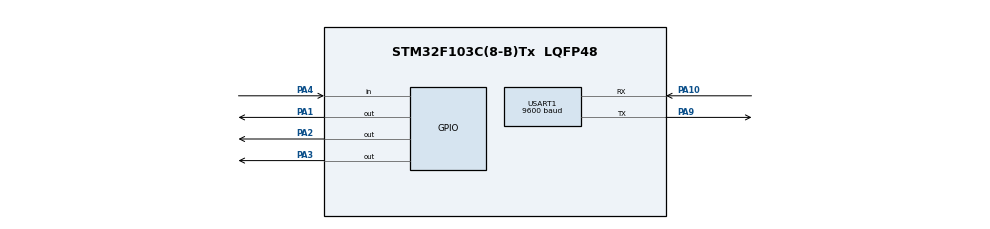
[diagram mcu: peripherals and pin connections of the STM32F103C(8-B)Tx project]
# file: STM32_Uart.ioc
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Mcu.Family=STM32F1
Mcu.Name=STM32F103C(8-B)Tx
Mcu.Package=LQFP48
NVIC.PriorityGroup=NVIC_PRIORITYGROUP_4
NVIC.USART1_IRQn=true\:0\:0\:false\:false\:true\:true
PA1.Signal=GPIO_Output
PA10.Mode=Asynchronous
PA10.Signal=USART1_RX
PA13.Mode=Serial_Wire
PA13.Signal=SYS_JTMS-SWDIO
PA14.Mode=Serial_Wire
PA14.Signal=SYS_JTCK-SWCLK
PA2.Signal=GPIO_Output
PA3.Signal=GPIO_Output
PA4.GPIO_PuPd=GPIO_PULLUP
PA4.Signal=GPIO_Input
PA9.Mode=Asynchronous
PA9.Signal=USART1_TX
ProjectManager.HeapSize=0x200
ProjectManager.StackSize=0x400
ProjectManager.TargetToolchain=MDK-ARM V5
RCC.APB1Freq_Value=8000000
RCC.APB2Freq_Value=8000000
USART1.BaudRate=9600
USART1.VirtualMode=VM_ASYNC
board=custom

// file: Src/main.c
/* USER CODE BEGIN Header */
/**
  ******************************************************************************
  * @file           : main.c
  * @brief          : Main program body
  ******************************************************************************
  ** This notice applies to any and all portions of this file
  * that are not between comment pairs USER CODE BEGIN and
  * USER CODE END. Other portions of this file, whether
  * inserted by the user or by software development tools
  * are owned by their respective copyright owners.
  *
  * COPYRIGHT(c) 2019 STMicroelectronics
  *
  * Redistribution and use in source and binary forms, with or without modification,
  * are permitted provided that the following conditions are met:
  *   1. Redistributions of source code must retain the above copyright notice,
  *      this list of conditions and the following disclaimer.
  *   2. Redistributions in binary form must reproduce the above copyright notice,
  *      this list of conditions and the following disclaimer in the documentation
  *      and/or other materials provided with the distribution.
  *   3. Neither the name of STMicroelectronics nor the names of its contributors
  *      may be used to endorse or promote products derived from this software
  *      without specific prior written permission.
  *
  * THIS SOFTWARE IS PROVIDED BY THE COPYRIGHT HOLDERS AND CONTRIBUTORS "AS IS"
  * AND ANY EXPRESS OR IMPLIED WARRANTIES, INCLUDING, BUT NOT LIMITED TO, THE
  * IMPLIED WARRANTIES OF MERCHANTABILITY AND FITNESS FOR A PARTICULAR PURPOSE ARE
  * DISCLAIMED. IN NO EVENT SHALL THE COPYRIGHT HOLDER OR CONTRIBUTORS BE LIABLE
  * FOR ANY DIRECT, INDIRECT, INCIDENTAL, SPECIAL, EXEMPLARY, OR CONSEQUENTIAL
  * DAMAGES (INCLUDING, BUT NOT LIMITED TO, PROCUREMENT OF SUBSTITUTE GOODS OR
  * SERVICES; LOSS OF USE, DATA, OR PROFITS; OR BUSINESS INTERRUPTION) HOWEVER
  * CAUSED AND ON ANY THEORY OF LIABILITY, WHETHER IN CONTRACT, STRICT LIABILITY,
  * OR TORT (INCLUDING NEGLIGENCE OR OTHERWISE) ARISING IN ANY WAY OUT OF THE USE
  * OF THIS SOFTWARE, EVEN IF ADVISED OF THE POSSIBILITY OF SUCH DAMAGE.
  *
  ******************************************************************************
  */
/* USER CODE END Header */

#include "main.h"

UART_HandleTypeDef huart1;

/* USER CODE BEGIN PV *//****************************************************************************PV**************/
const uint8_t UART_Rec_DateBufSize = 20;
uint8_t UART_Rec_Date;
uint8_t UART_Tran_Date = 0;

uint8_t UART_Rec_DateBuf[UART_Rec_DateBufSize];
uint8_t UART_Rec_DateBuf1[UART_Rec_DateBufSize]=  {0,1,2,3,4,5,6,7,8,9,};
char UART_Tran_DateBuf1[UART_Rec_DateBufSize]="FUCK_YOU_LOVE\r\n";

uint8_t Rx_Cnt = 0;
uint8_t	AlarmStr[] = "数据长度大!UART_Rec_DateBufSize\r\n";

/* USER CODE END PV */

void SystemClock_Config(void);
static void MX_GPIO_Init(void);
static void MX_USART1_UART_Init(void);

int main(void)
{

  /* MCU Configuration--------------------------------------------------------*/

  /* Reset of all peripherals, Initializes the Flash interface and the Systick. */
  HAL_Init();

  /* Configure the system clock */
  SystemClock_Config();

  /* Initialize all configured peripherals */
  MX_GPIO_Init();
  MX_USART1_UART_Init();
  /* USER CODE BEGIN 2 */
		HAL_GPIO_WritePin(GPIOA, GPIO_PIN_1|GPIO_PIN_2|GPIO_PIN_3, GPIO_PIN_SET);

	HAL_UART_Receive_IT(&huart1, &UART_Rec_Date, 1);/*************接受****************/
	HAL_UART_Transmit_IT(&huart1, &UART_Tran_Date, 1);/******发送**/

//HAL_UART_Transmit(&huart1, UART_Rec_DateBuf1, (uint16_t)UART_Rec_DateBufSize, 1000);

  /* USER CODE END 2 */

  /* Infinite loop */
  while (1)
  {
if(GPIO_PIN_RESET == HAL_GPIO_ReadPin(GPIOA, GPIO_PIN_4)  )
	{
			HAL_Delay(500);
		if(GPIO_PIN_SET == HAL_GPIO_ReadPin(GPIOA, GPIO_PIN_4)  ){
			HAL_Delay(100);

	HAL_UART_Transmit(&huart1,(uint8_t*) UART_Tran_DateBuf1, sizeof(UART_Tran_DateBuf1), 100);

		}

	}

  }
}

void SystemClock_Config(void)
{
  RCC_OscInitTypeDef RCC_OscInitStruct = {0};
  RCC_ClkInitTypeDef RCC_ClkInitStruct = {0};

  /**Initializes the CPU, AHB and APB busses clocks
  */
  RCC_OscInitStruct.OscillatorType = RCC_OSCILLATORTYPE_HSI;
  RCC_OscInitStruct.HSIState = RCC_HSI_ON;
  RCC_OscInitStruct.HSICalibrationValue = RCC_HSICALIBRATION_DEFAULT;
  RCC_OscInitStruct.PLL.PLLState = RCC_PLL_NONE;
  if (HAL_RCC_OscConfig(&RCC_OscInitStruct) != HAL_OK)
  {
    Error_Handler();
  }
  /**Initializes the CPU, AHB and APB busses clocks
  */
  RCC_ClkInitStruct.ClockType = RCC_CLOCKTYPE_HCLK|RCC_CLOCKTYPE_SYSCLK
                              |RCC_CLOCKTYPE_PCLK1|RCC_CLOCKTYPE_PCLK2;
  RCC_ClkInitStruct.SYSCLKSource = RCC_SYSCLKSOURCE_HSI;
  RCC_ClkInitStruct.AHBCLKDivider = RCC_SYSCLK_DIV1;
  RCC_ClkInitStruct.APB1CLKDivider = RCC_HCLK_DIV1;
  RCC_ClkInitStruct.APB2CLKDivider = RCC_HCLK_DIV1;

  if (HAL_RCC_ClockConfig(&RCC_ClkInitStruct, FLASH_LATENCY_0) != HAL_OK)
  {
    Error_Handler();
  }
}

static void MX_USART1_UART_Init(void)
{

  huart1.Instance = USART1;
  huart1.Init.BaudRate = 9600;
  huart1.Init.WordLength = UART_WORDLENGTH_8B;
  huart1.Init.StopBits = UART_STOPBITS_1;
  huart1.Init.Parity = UART_PARITY_NONE;
  huart1.Init.Mode = UART_MODE_TX_RX;
  huart1.Init.HwFlowCtl = UART_HWCONTROL_NONE;
  huart1.Init.OverSampling = UART_OVERSAMPLING_16;
  if (HAL_UART_Init(&huart1) != HAL_OK)
  {
    Error_Handler();
  }

}

static void MX_GPIO_Init(void)
{
  GPIO_InitTypeDef GPIO_InitStruct = {0};

  /* GPIO Ports Clock Enable */
  __HAL_RCC_GPIOA_CLK_ENABLE();

  /*Configure GPIO pin Output Level */
  HAL_GPIO_WritePin(GPIOA, GPIO_PIN_1|GPIO_PIN_2|GPIO_PIN_3, GPIO_PIN_RESET);

  /*Configure GPIO pins : PA1 PA2 PA3 */
  GPIO_InitStruct.Pin = GPIO_PIN_1|GPIO_PIN_2|GPIO_PIN_3;
  GPIO_InitStruct.Mode = GPIO_MODE_OUTPUT_PP;
  GPIO_InitStruct.Pull = GPIO_NOPULL;
  GPIO_InitStruct.Speed = GPIO_SPEED_FREQ_LOW;
  HAL_GPIO_Init(GPIOA, &GPIO_InitStruct);

  /*Configure GPIO pin : PA4 */
  GPIO_InitStruct.Pin = GPIO_PIN_4;
  GPIO_InitStruct.Mode = GPIO_MODE_INPUT;
  GPIO_InitStruct.Pull = GPIO_PULLUP;
  HAL_GPIO_Init(GPIOA, &GPIO_InitStruct);

}

/* USER CODE BEGIN 4 */
  void HAL_UART_RxCpltCallback(UART_HandleTypeDef *huart) //******************************************接受中断回调函数*******//
{
	int i_urat;
			HAL_GPIO_TogglePin(GPIOA, GPIO_PIN_1);

//		HAL_UART_Transmit(&huart1, UART_Rec_DateBuf1, (uint16_t)UART_Rec_DateBufSize, 1000);//test
	if(huart->Instance== USART1)//*串口1*//
	{
						if(Rx_Cnt>=UART_Rec_DateBufSize)/*缓冲区满就发送*/
						{
							 Rx_Cnt = 0;
							for( i_urat=0;i_urat<UART_Rec_DateBufSize;i_urat++)
							{
							UART_Rec_DateBuf[i_urat] = 0;
							}

							HAL_UART_Transmit(&huart1, AlarmStr, sizeof(AlarmStr), 1000);
						}else{

									UART_Rec_DateBuf[Rx_Cnt++]	= UART_Rec_Date;

										if(  UART_Rec_DateBuf[Rx_Cnt-1]==0x0A && UART_Rec_DateBuf[Rx_Cnt-2]==0x0D)
										{
											Rx_Cnt = 0;

											HAL_UART_Transmit(&huart1, UART_Rec_DateBuf, sizeof(UART_Rec_DateBuf), 10);

											for( i_urat=0;i_urat<UART_Rec_DateBufSize;i_urat++)
											{
											UART_Rec_DateBuf[i_urat] = 0;
											}

										}
					}

	}
	HAL_UART_Receive_IT(&huart1, &UART_Rec_Date, 1);/*重新使能串口1*/

}

  void HAL_UART_TxCpltCallback(UART_HandleTypeDef *huart)//***********************发送*********中断回调函数*******//
{

	HAL_GPIO_TogglePin(GPIOA, GPIO_PIN_2);
  /* Prevent unused argument(s) compilation warning */
//  UNUSED(huart);
  /* NOTE: This function Should not be modified, when the callback is needed,
           the HAL_UART_TxCpltCallback could be implemented in the user file
   */

	//HAL_UART_Transmit_IT(&huart1, &UART_Tran_Date, 1);/*重新使能串口1*/

}

/* USER CODE END 4 */

void Error_Handler(void)
{
}

/************************ (C) COPYRIGHT STMicroelectronics *****END OF FILE****/
